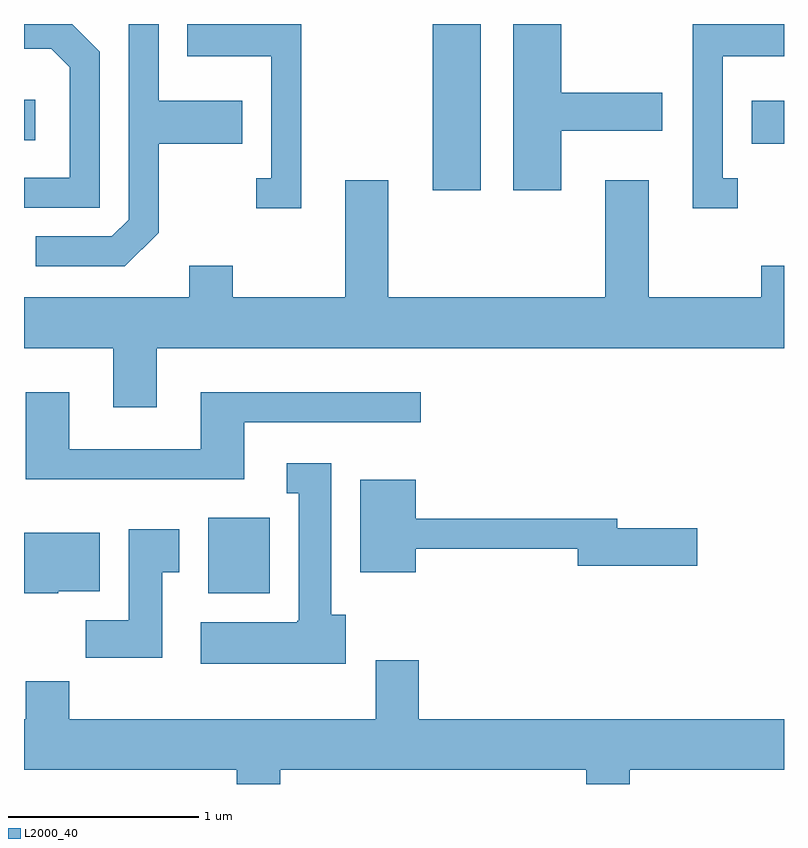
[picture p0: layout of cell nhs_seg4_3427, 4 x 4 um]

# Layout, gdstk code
import gdstk
lib = gdstk.Library(unit=1e-6, precision=1e-09)
def R(c, l, rs):  # rectangles x0, y0, x1, y1
    for r in rs: c.add(gdstk.rectangle(r[:2], r[2:], *l))
def P(c, l, *ps):  # polygons
    for p in ps: c.add(gdstk.Polygon(p, *l))
L2000_40 = (2000, 40)

nhs_seg4_3427 = lib.new_cell('nhs_seg4_3427')
R(nhs_seg4_3427, L2000_40, [(286.581,1308.986,286.904,1309.384), (287.761,1311.106,288.014,1311.982), (289.441,1311.351,289.611,1311.579), (285.611,1311.371,285.669,1311.584)])
P(nhs_seg4_3427, L2000_40, [(286.009,1311.837),(285.864,1311.982),(285.611,1311.982),(285.611,1311.851),(285.754,1311.851),(285.851,1311.754),(285.851,1311.174),(285.611,1311.174),(285.611,1311.016),(286.009,1311.016)],
  [(289.368,1311.169),(289.289,1311.169),(289.289,1311.811),(289.611,1311.811),(289.611,1311.982),(289.131,1311.982),(289.131,1311.011),(289.368,1311.011)],
  [(288.439,1311.421),(288.969,1311.421),(288.969,1311.619),(288.439,1311.619),(288.439,1311.982),(288.186,1311.982),(288.186,1311.106),(288.439,1311.106)],
  [(287.069,1311.982),(286.471,1311.982),(286.471,1311.811),(286.911,1311.811),(286.911,1311.169),(286.833,1311.169),(286.833,1311.011),(287.069,1311.011)],
  [(286.319,1310.884),(286.319,1311.351),(286.759,1311.351),(286.759,1311.579),(286.319,1311.579),(286.319,1311.982),(286.161,1311.982),(286.161,1310.952),(286.074,1310.864),(285.673,1310.864),(285.673,1310.706),(286.142,1310.706)],
  [(286.309,1310.276),(289.611,1310.276),(289.611,1310.709),(289.491,1310.709),(289.491,1310.544),(288.899,1310.544),(288.899,1311.159),(288.671,1311.159),(288.671,1310.544),(287.529,1310.544),(287.529,1311.159),(287.301,1311.159),(287.301,1310.544),(286.709,1310.544),(286.709,1310.709),(286.481,1310.709),(286.481,1310.544),(285.611,1310.544),(285.611,1310.276),(286.081,1310.276),(286.081,1309.966),(286.309,1309.966)],
  [(286.769,1309.886),(287.698,1309.886),(287.698,1310.044),(286.541,1310.044),(286.541,1309.744),(285.849,1309.744),(285.849,1310.044),(285.621,1310.044),(285.621,1309.586),(286.769,1309.586)],
  [(287.304,1308.874),(287.229,1308.874),(287.229,1309.669),(286.993,1309.669),(286.993,1309.511),(287.056,1309.511),(287.056,1308.84),(287.05,1308.84),(287.05,1308.834),(286.541,1308.834),(286.541,1308.616),(287.304,1308.616)],
  [(287.674,1309.221),(288.526,1309.221),(288.526,1309.131),(289.154,1309.131),(289.154,1309.329),(288.734,1309.329),(288.734,1309.379),(287.674,1309.379),(287.674,1309.584),(287.381,1309.584),(287.381,1309.096),(287.674,1309.096)],
  [(286.339,1309.096),(286.429,1309.096),(286.429,1309.324),(286.161,1309.324),(286.161,1308.844),(285.936,1308.844),(285.936,1308.646),(286.339,1308.646)],
  [(285.79,1308.996),(286.009,1308.996),(286.009,1309.304),(285.611,1309.304),(285.611,1308.986),(285.79,1308.986)],
  [(286.959,1308.056),(288.571,1308.056),(288.571,1307.982),(288.799,1307.982),(288.799,1308.056),(289.611,1308.056),(289.611,1308.324),(287.689,1308.324),(287.689,1308.634),(287.461,1308.634),(287.461,1308.324),(285.849,1308.324),(285.849,1308.524),(285.621,1308.524),(285.621,1308.324),(285.611,1308.324),(285.611,1308.056),(286.731,1308.056),(286.731,1307.982),(286.959,1307.982)])

lib.write_gds('nhs_seg4_3427.gds')
